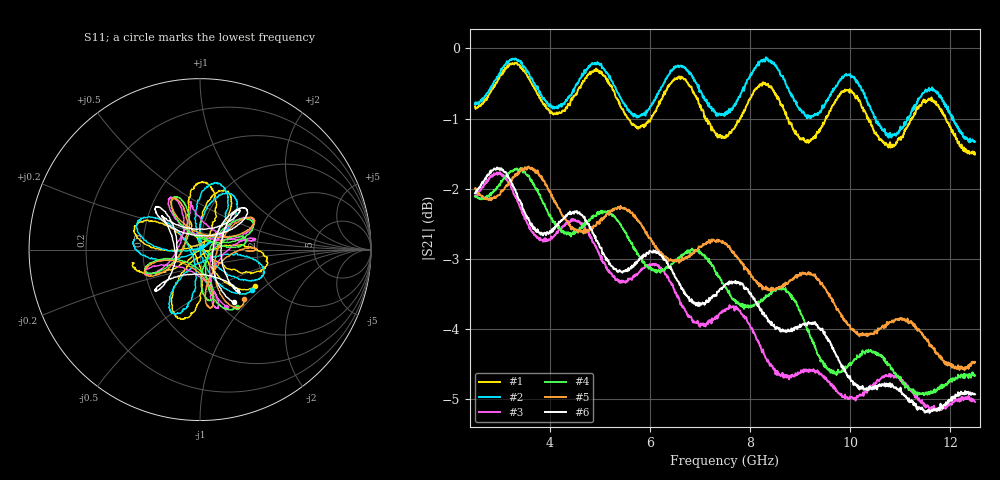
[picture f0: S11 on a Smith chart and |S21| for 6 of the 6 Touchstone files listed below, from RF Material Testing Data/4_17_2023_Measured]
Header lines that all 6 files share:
!Keysight Technologies N9950B: A.12.38
!Timezone: (UTC-06:00) Central Time (US & Canada)
!Model: N9950B
!Serial: MY61131330
!GPS Latitude:
!GPS Longitude:
!GPS TimeStamp: 0001-01-01 00:00:00Z
!GPS Seconds Since Last Read: 0
!Correction: S11(ON U)S21(ON U)S12(ON U)S22(ON U)
!S2P File: Measurements:S11,S21,S12,S22:
# Hz S DB R 50
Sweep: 2.5 GHz to 12.5 GHz
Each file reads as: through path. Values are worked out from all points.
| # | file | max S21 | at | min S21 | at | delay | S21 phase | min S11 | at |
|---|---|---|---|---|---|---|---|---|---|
| 1 | A17_6cm_pla1.s2p | -0.20 dB | 3.3 GHz | -1.5 dB | 12.5 GHz | 228 ps | 105 deg at 7.5 GHz | -44.6 dB | 11.58 GHz |
| 2 | A17_6cm_pla6cm.s2p | -0.13 dB | 8.32 GHz | -1.3 dB | 12.39 GHz | 228 ps | 106 deg at 7.5 GHz | -51.2 dB | 11.62 GHz |
| 3 | A17_6cm_sla1.s2p | -1.76 dB | 3 GHz | -5.2 dB | 11.64 GHz | 242 ps | 53 deg at 7.5 GHz | -22.8 dB | 4.61 GHz |
| 4 | A17_6cm_sla5_3cm.s2p | -1.71 dB | 3.41 GHz | -4.9 dB | 11.35 GHz | 229 ps | 89 deg at 7.5 GHz | -25.5 dB | 3.48 GHz |
| 5 | A17_6cm_sla5cm.s2p | -1.68 dB | 3.57 GHz | -4.6 dB | 12.29 GHz | 223 ps | 109 deg at 7.5 GHz | -20.9 dB | 5.51 GHz |
| 6 | A17_6cm_sla6cm.s2p | -1.70 dB | 2.94 GHz | -5.2 dB | 11.59 GHz | 243 ps | 55 deg at 7.5 GHz | -22.5 dB | 3.05 GHz |
